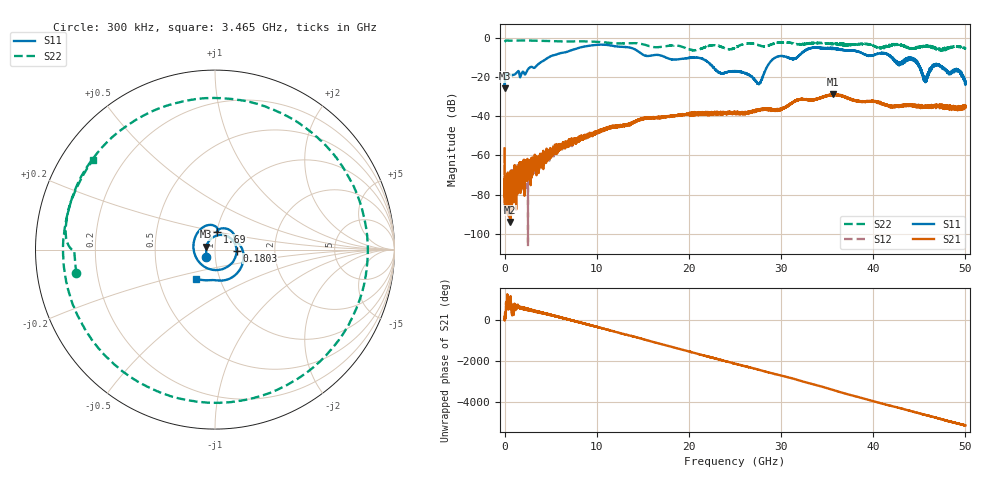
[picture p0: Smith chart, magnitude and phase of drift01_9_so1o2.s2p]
!Created with skrf (http://scikit-rf.org).
# Hz S RI R 50.0
!freq ReS11 ImS11 ReS21 ImS21 ReS12 ImS12 ReS22 ImS22
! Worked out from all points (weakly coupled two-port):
!   10001 points, 300 kHz to 50 GHz, reference 50 ohm
!   highest |S21| = -28.78 dB at 35.63 GHz (marker M1); lowest = -94.0 dB at 625.3 MHz (marker M2)
!   lowest |S11| = -25.8 dB at 5.3 MHz (marker M3), VSWR 1.11, Z = 45.3 + j1.41 ohm
!   |S11| at or under -10 dB: start of sweep to 4.764 GHz; 17.49 GHz to 29.42 GHz (11.93 GHz wide, 50.8 % of centre); 44.02 GHz to end of sweep (the widest 3 of 8)
!   |S22| runs from -6.6 to -1.4 dB; largest |S21 - S12| = 0.0041
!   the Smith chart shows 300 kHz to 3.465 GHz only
!   S11 on the Smith chart (normalised r, x): 300 kHz: 0.90, -0.08; 180.3 MHz: 1.27, -0.01; 1.69 GHz: 1.00, +0.20; 3.465 GHz: 0.77, -0.26
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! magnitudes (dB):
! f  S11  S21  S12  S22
! 300 kHz  -23.7  -56.4  -58.9  -2.1
! 5.3 MHz  -25.8  -81.1  -79.1  -2.1
! 180.3 MHz  -18.4  -73.0  -78.2  -1.4
! 625.3 MHz  -18.8  -94.0  -67.3  -1.5
! 1.69 GHz  -20.1  -67.0  -70.2  -1.4
! 3.465 GHz  -14.3  -70.1  -63.4  -1.5
! 8.335 GHz  -4.8  -51.0  -52.1  -1.8
! 16.67 GHz  -8.7  -40.8  -40.9  -4.8
! 21.15 GHz  -10.3  -38.8  -39.0  -5.9
! 25 GHz  -17.0  -38.4  -38.8  -5.1
! 27.59 GHz  -23.6  -36.8  -36.7  -3.9
! 29.28 GHz  -10.4  -36.9  -36.9  -2.9
! 31.45 GHz  -10.8  -32.4  -32.5  -3.0
! 33.34 GHz  -5.2  -31.8  -31.5  -2.7
! 35.63 GHz  -5.8  -28.8  -29.0  -3.1
! 41.67 GHz  -8.9  -34.8  -34.7  -4.3
! 42.73 GHz  -12.6  -34.8  -34.8  -3.3
! 44.42 GHz  -11.6  -34.4  -34.8  -5.3
! 45.63 GHz  -21.0  -35.0  -34.9  -4.3
! 46.88 GHz  -13.8  -34.9  -34.8  -5.4
! 49.21 GHz  -16.2  -36.0  -36.4  -4.4
! 50 GHz  -22.2  -34.8  -34.6  -5.4
